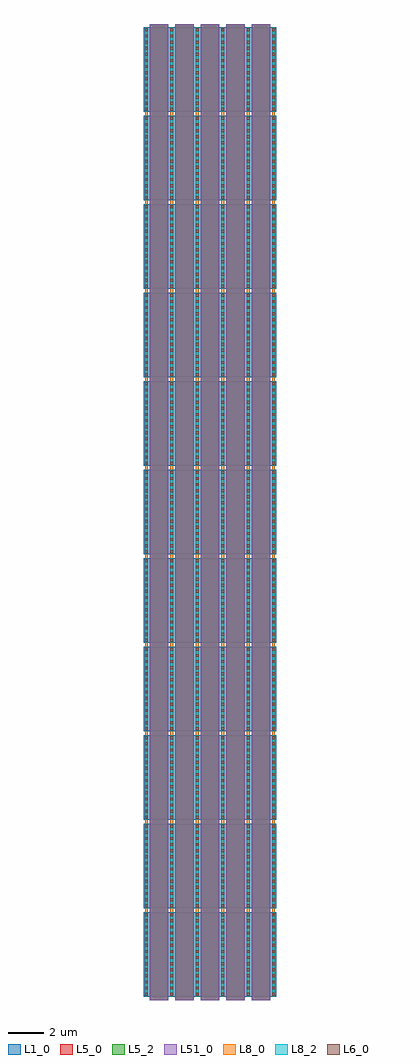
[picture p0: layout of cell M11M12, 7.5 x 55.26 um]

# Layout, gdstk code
import gdstk
lib = gdstk.Library(unit=1e-6, precision=1e-09)
def R(c, l, rs):  # rectangles x0, y0, x1, y1
    for r in rs: c.add(gdstk.rectangle(r[:2], r[2:], *l))
def A(c, l, x, y, w, h, nx, ny, dx, dy):  # array of equal rectangles
    R(c, l, [(x+i*dx, y+j*dy, x+i*dx+w, y+j*dy+h) for i in range(nx) for j in range(ny)])
L1_0 = (1, 0)
L5_0 = (5, 0)
L5_2 = (5, 2)
L6_0 = (6, 0)
L8_0 = (8, 0)
L8_2 = (8, 2)
L51_0 = (51, 0)

nmos_3 = lib.new_cell('nmos$3')
R(nmos_3, L1_0, [(0,0,0.3,0.3), (0,0,1.74,4.8), (1.44,0,1.74,0.3)])
R(nmos_3, L5_0, [(0.34,-0.18,1.4,4.98)])
R(nmos_3, L5_2, [(0.34,-0.18,1.4,4.98)])
A(nmos_3, L6_0, 0.07, 0.07, 0.16, 0.16, 1, 5, 0, 0.345)
A(nmos_3, L6_0, 1.51, 0.07, 0.16, 0.16, 1, 5, 0, 0.345)
A(nmos_3, L6_0, 0.07, 1.8, 0.16, 0.16, 1, 4, 0, 0.345)
A(nmos_3, L6_0, 1.51, 1.8, 0.16, 0.16, 1, 4, 0, 0.345)
A(nmos_3, L6_0, 0.07, 3.185, 0.16, 0.16, 1, 4, 0, 0.345)
A(nmos_3, L6_0, 1.51, 3.185, 0.16, 0.16, 1, 4, 0, 0.345)
R(nmos_3, L6_0, [(0.07,4.57,0.23,4.73), (1.51,4.57,1.67,4.73)])
R(nmos_3, L8_0, [(0.07,0,0.23,4.8), (1.51,0,1.67,4.8)])
R(nmos_3, L8_2, [(0.07,0,0.23,4.8), (1.51,0,1.67,4.8)])
R(nmos_3, L51_0, [(0.34,-0.18,1.4,4.98)])
nmos_3.add(gdstk.Label('nmos', (0.87,2.4), layer=63, texttype=0))
nmos_3.add(gdstk.Label('nmos', (0.87,2.4), layer=51, texttype=0))

m1_conm11m12 = lib.new_cell('M1_conM11M12')
R(m1_conm11m12, L8_0, [(0,0,0.16,0.21)])

m11m12 = lib.new_cell('M11M12')
r = gdstk.Reference(nmos_3, (-0.415,-0.15)); r.repetition = gdstk.Repetition(5, 11, v1=(1.44,0), v2=(0,5.01)); m11m12.add(r)
r = gdstk.Reference(m1_conm11m12, (-0.345,4.65)); r.repetition = gdstk.Repetition(6, 10, v1=(1.44,0), v2=(0,5.01)); m11m12.add(r)

lib.write_gds('M11M12.gds')
